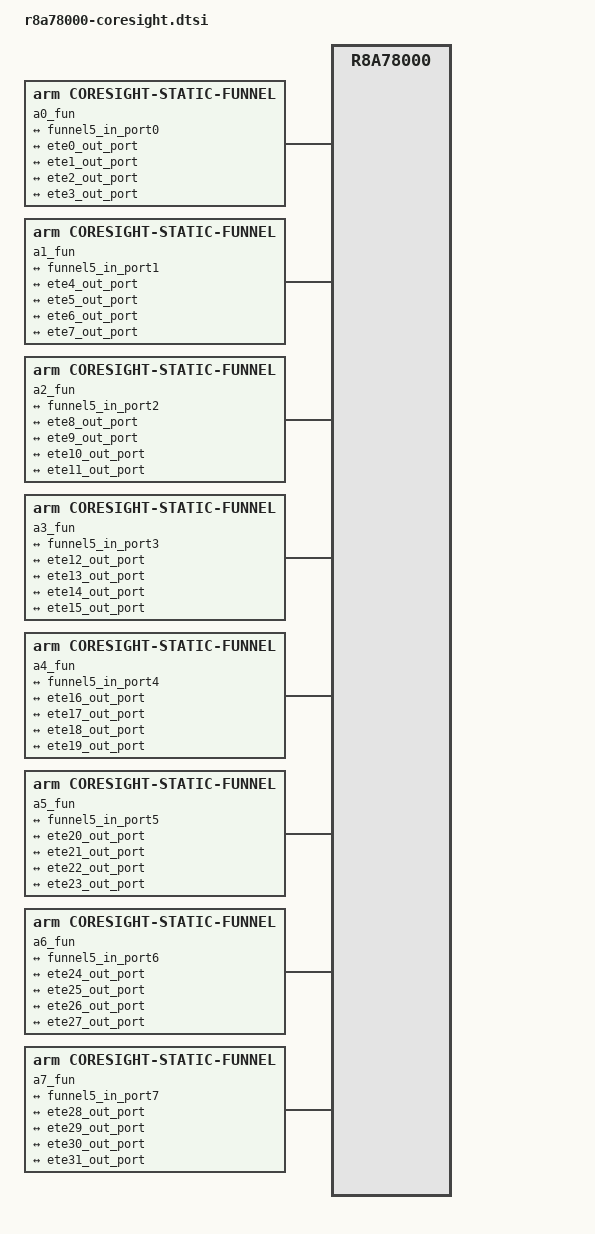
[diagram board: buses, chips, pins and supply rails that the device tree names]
// SPDX-License-Identifier: (GPL-2.0-only OR BSD-2-Clause)
/*
 * Device Tree Source fragment for Coresight support on the R-Car X5H
 * (R8A78000) SoC
 *
 * Copyright (C) 2025 Renesas Electronics Corp.
 */

#include <dt-bindings/arm/coresight-cti-dt.h>
#include "r8a78000.dtsi"

/ {
	compatible = "renesas,r8a78000", "renesas,r8a78000-coresight";

	/* APB clock */
	apb_pclk: apb-pclk {
		compatible = "fixed-clock";
		#clock-cells = <0>;
		clock-frequency = <0>;
		clock-output-names = "apb_pclk";
	};

	reserved-memory {
		#address-cells = <2>;
		#size-cells = <2>;
		ranges;

		etr1_trace_mem_reserved: etr1_t@1e00000000 {
			no-map;
			reg = <0x1e 0x0 0x0 0x2000000>;
		};

		etr1_mdata_mem_reserved: etr1_m@1e02000000 {
			no-map;
			reg = <0x1e 0x2000000 0x0 0x2000000>;
		};
	};

	soc: soc {
		csd_rep2: replicator {
			compatible = "arm,coresight-static-replicator";
			status = "disabled";

			in-ports {
				port {
					replicator2_in_port: endpoint {
						remote-endpoint = <&funnel2_out_port0>;
					};
				};
			};

			out-ports {
				#address-cells = <1>;
				#size-cells = <0>;

				port@1 {
					reg = <1>;
					replicator2_out_port1: endpoint {
						remote-endpoint = <&funnel1_in_port0>;
					};
				};
			};
		};

		csd_fun1: funnel@28070000 {
			compatible = "arm,coresight-dynamic-funnel", "arm,primecell";
			reg = <0x0 0x28070000 0x0 0x1000>;

			clocks = <&apb_pclk>;
			clock-names = "apb_pclk";

			status = "disabled";

			out-ports {
				port {
					funnel1_out_port: endpoint {
						remote-endpoint = <&etf1_in_port>;
					};
				};
			};

			in-ports {
				#address-cells = <1>;
				#size-cells = <0>;

				port@0 {
					reg = <0>;
					funnel1_in_port0: endpoint {
						remote-endpoint = <&replicator2_out_port1>;
					};
				};
			};
		};

		csd_fun2: funnel@28080000 {
			compatible = "arm,coresight-dynamic-funnel", "arm,primecell";
			reg = <0x0 0x28080000 0x0 0x1000>;

			clocks = <&apb_pclk>;
			clock-names = "apb_pclk";

			status = "disabled";

			out-ports {
				port {
					funnel2_out_port0: endpoint {
						remote-endpoint = <&replicator2_in_port>;
					};
				};
			};

			in-ports {
				#address-cells = <1>;
				#size-cells = <0>;

				port@3 {
					reg = <3>;
					funnel2_in_port3: endpoint {
						remote-endpoint = <&funnel5_out_port>;
					};
				};

				port@5 {
					reg = <5>;
					funnel2_in_port5: endpoint {
						remote-endpoint = <&stm0_out_port>;
					};
				};
			};
		};

		csd_fun5: funnel@280b0000 {
			compatible = "arm,coresight-dynamic-funnel", "arm,primecell";
			reg = <0x0 0x280b0000 0x0 0x1000>;

			clocks = <&apb_pclk>;
			clock-names = "apb_pclk";

			status = "disabled";

			out-ports {
				port {
					funnel5_out_port: endpoint {
						remote-endpoint = <&funnel2_in_port3>;
					};
				};
			};

			in-ports {
				#address-cells = <1>;
				#size-cells = <0>;

				port@0 {
					reg = <0>;
					funnel5_in_port0: endpoint {
						remote-endpoint = <&a0_funnel_out>;
					};
				};

				port@1 {
					reg = <1>;
					funnel5_in_port1: endpoint {
						remote-endpoint = <&a1_funnel_out>;
					};
				};

				port@2 {
					reg = <2>;
					funnel5_in_port2: endpoint {
						remote-endpoint = <&a2_funnel_out>;
					};
				};

				port@3 {
					reg = <3>;
					funnel5_in_port3: endpoint {
						remote-endpoint = <&a3_funnel_out>;
					};
				};

				port@4 {
					reg = <4>;
					funnel5_in_port4: endpoint {
						remote-endpoint = <&a4_funnel_out>;
					};
				};

				port@5 {
					reg = <5>;
					funnel5_in_port5: endpoint {
						remote-endpoint = <&a5_funnel_out>;
					};
				};

				port@6 {
					reg = <6>;
					funnel5_in_port6: endpoint {
						remote-endpoint = <&a6_funnel_out>;
					};
				};

				port@7 {
					reg = <7>;
					funnel5_in_port7: endpoint {
						remote-endpoint = <&a7_funnel_out>;
					};
				};
			};
		};

		a0_fun: funnel0 {
			compatible = "arm,coresight-static-funnel";

			out-ports {
				port {
					a0_funnel_out: endpoint {
						remote-endpoint = <&funnel5_in_port0>;
					};
				};
			};

			in-ports {
				#address-cells = <1>;
				#size-cells = <0>;

				port@0 {
					reg = <0>;
					a0_funnel_in0: endpoint {
						remote-endpoint = <&ete0_out_port>;
					};
				};

				port@1 {
					reg = <1>;
					a0_funnel_in1: endpoint {
						remote-endpoint = <&ete1_out_port>;
					};
				};

				port@2 {
					reg = <2>;
					a0_funnel_in2: endpoint {
						remote-endpoint = <&ete2_out_port>;
					};
				};

				port@3 {
					reg = <3>;
					a0_funnel_in3: endpoint {
						remote-endpoint = <&ete3_out_port>;
					};
				};
			};
		};

		a1_fun: funnel1 {
			compatible = "arm,coresight-static-funnel";

			out-ports {
				port {
					a1_funnel_out: endpoint {
						remote-endpoint = <&funnel5_in_port1>;
					};
				};
			};

			in-ports {
				#address-cells = <1>;
				#size-cells = <0>;

				port@0 {
					reg = <0>;
					a1_funnel_in0: endpoint {
						remote-endpoint = <&ete4_out_port>;
					};
				};

				port@1 {
					reg = <1>;
					a1_funnel_in1: endpoint {
						remote-endpoint = <&ete5_out_port>;
					};
				};

				port@2 {
					reg = <2>;
					a1_funnel_in2: endpoint {
						remote-endpoint = <&ete6_out_port>;
					};
				};

				port@3 {
					reg = <3>;
					a1_funnel_in3: endpoint {
						remote-endpoint = <&ete7_out_port>;
					};
				};
			};
		};

		a2_fun: funnel2 {
			compatible = "arm,coresight-static-funnel";

			out-ports {
				port {
					a2_funnel_out: endpoint {
						remote-endpoint = <&funnel5_in_port2>;
					};
				};
			};

			in-ports {
				#address-cells = <1>;
				#size-cells = <0>;

				port@0 {
					reg = <0>;
					a2_funnel_in0: endpoint {
						remote-endpoint = <&ete8_out_port>;
					};
				};

				port@1 {
					reg = <1>;
					a2_funnel_in1: endpoint {
						remote-endpoint = <&ete9_out_port>;
					};
				};

				port@2 {
					reg = <2>;
					a2_funnel_in2: endpoint {
						remote-endpoint = <&ete10_out_port>;
					};
				};

				port@3 {
					reg = <3>;
					a2_funnel_in3: endpoint {
						remote-endpoint = <&ete11_out_port>;
					};
				};
			};
		};

		a3_fun: funnel3 {
			compatible = "arm,coresight-static-funnel";

			out-ports {
				port {
					a3_funnel_out: endpoint {
						remote-endpoint = <&funnel5_in_port3>;
					};
				};
			};

			in-ports {
				#address-cells = <1>;
				#size-cells = <0>;

				port@0 {
					reg = <0>;
					a3_funnel_in0: endpoint {
						remote-endpoint = <&ete12_out_port>;
					};
				};

				port@1 {
					reg = <1>;
					a3_funnel_in1: endpoint {
						remote-endpoint = <&ete13_out_port>;
					};
				};

				port@2 {
					reg = <2>;
					a3_funnel_in2: endpoint {
						remote-endpoint = <&ete14_out_port>;
					};
				};

				port@3 {
					reg = <3>;
					a3_funnel_in3: endpoint {
						remote-endpoint = <&ete15_out_port>;
					};
				};
			};
		};

		a4_fun: funnel4 {
			compatible = "arm,coresight-static-funnel";

			out-ports {
				port {
					a4_funnel_out: endpoint {
						remote-endpoint = <&funnel5_in_port4>;
					};
				};
			};

			in-ports {
				#address-cells = <1>;
				#size-cells = <0>;

				port@0 {
					reg = <0>;
					a4_funnel_in0: endpoint {
						remote-endpoint = <&ete16_out_port>;
					};
				};

				port@1 {
					reg = <1>;
					a4_funnel_in1: endpoint {
						remote-endpoint = <&ete17_out_port>;
					};
				};

				port@2 {
					reg = <2>;
					a4_funnel_in2: endpoint {
						remote-endpoint = <&ete18_out_port>;
					};
				};

				port@3 {
					reg = <3>;
					a4_funnel_in3: endpoint {
						remote-endpoint = <&ete19_out_port>;
					};
				};
			};
		};

		a5_fun: funnel5 {
			compatible = "arm,coresight-static-funnel";

			out-ports {
				port {
					a5_funnel_out: endpoint {
						remote-endpoint = <&funnel5_in_port5>;
					};
				};
			};

			in-ports {
				#address-cells = <1>;
				#size-cells = <0>;

				port@0 {
					reg = <0>;
					a5_funnel_in0: endpoint {
						remote-endpoint = <&ete20_out_port>;
					};
				};

				port@1 {
					reg = <1>;
					a5_funnel_in1: endpoint {
						remote-endpoint = <&ete21_out_port>;
					};
				};

				port@2 {
					reg = <2>;
					a5_funnel_in2: endpoint {
						remote-endpoint = <&ete22_out_port>;
					};
				};

				port@3 {
					reg = <3>;
					a5_funnel_in3: endpoint {
						remote-endpoint = <&ete23_out_port>;
					};
				};
			};
		};

		a6_fun: funnel6 {
			compatible = "arm,coresight-static-funnel";

			out-ports {
				port {
					a6_funnel_out: endpoint {
						remote-endpoint = <&funnel5_in_port6>;
					};
				};
			};

			in-ports {
				#address-cells = <1>;
				#size-cells = <0>;

				port@0 {
					reg = <0>;
					a6_funnel_in0: endpoint {
						remote-endpoint = <&ete24_out_port>;
					};
				};

				port@1 {
					reg = <1>;
					a6_funnel_in1: endpoint {
						remote-endpoint = <&ete25_out_port>;
					};
				};

				port@2 {
					reg = <2>;
					a6_funnel_in2: endpoint {
						remote-endpoint = <&ete26_out_port>;
					};
				};

				port@3 {
					reg = <3>;
					a6_funnel_in3: endpoint {
						remote-endpoint = <&ete27_out_port>;
					};
				};
			};
		};

		a7_fun: funnel7 {
			compatible = "arm,coresight-static-funnel";

			out-ports {
				port {
					a7_funnel_out: endpoint {
						remote-endpoint = <&funnel5_in_port7>;
					};
				};
			};

			in-ports {
				#address-cells = <1>;
				#size-cells = <0>;

				port@0 {
					reg = <0>;
					a7_funnel_in0: endpoint {
						remote-endpoint = <&ete28_out_port>;
					};
				};

				port@1 {
					reg = <1>;
					a7_funnel_in1: endpoint {
						remote-endpoint = <&ete29_out_port>;
					};
				};

				port@2 {
					reg = <2>;
					a7_funnel_in2: endpoint {
						remote-endpoint = <&ete30_out_port>;
					};
				};

				port@3 {
					reg = <3>;
					a7_funnel_in3: endpoint {
						remote-endpoint = <&ete31_out_port>;
					};
				};
			};
		};

		csd_stm0: stm@28010000 {
			compatible = "arm,coresight-stm", "arm,primecell";
			reg = <0x0 0x28010000 0x0 0x1000>,
			      <0x0 0x24000000 0x0 0x100000>;
			reg-names = "stm-base", "stm-stimulus-base";

			clocks = <&apb_pclk>;
			clock-names = "apb_pclk";

			status = "disabled";

			out-ports {
				port {
					stm0_out_port: endpoint {
						remote-endpoint = <&funnel2_in_port5>;
					};
				};
			};
		};

		csd_tpi1: tpiu@280e0000 {
			compatible = "arm,coresight-tpiu", "arm,primecell";
			reg = <0x0 0x280e0000 0x0 0x1000>;

			clocks = <&apb_pclk>;
			clock-names = "apb_pclk";

			status = "disabled";

			in-ports {
				port {
					tpi1_in_port: endpoint {
						remote-endpoint = <&rep1_out_port1>;
					};
				};
			};
		};

		csd_etf1: etf@28100000 {
			compatible = "arm,coresight-tmc", "arm,primecell";
			reg = <0x0 0x28100000 0x0 0x1000>;

			clocks = <&apb_pclk>;
			clock-names = "apb_pclk";

			status = "disabled";

			in-ports {
				port {
					etf1_in_port: endpoint {
						remote-endpoint = <&funnel1_out_port>;
					};
				};
			};

			out-ports {
				port {
					etf1_out_port: endpoint {
						remote-endpoint = <&rep1_in_port>;
					};
				};
			};
		};

		csd_rep1: replicator@281a0000 {
			compatible = "arm,coresight-dynamic-replicator", "arm,primecell";
			reg = <0x0 0x281a0000 0x0 0x1000>;

			clocks = <&apb_pclk>;
			clock-names = "apb_pclk";

			status = "disabled";

			in-ports {
				port@0 {
					rep1_in_port: endpoint {
						remote-endpoint = <&etf1_out_port>;
					};
				};
			};

			out-ports {
				#address-cells = <1>;
				#size-cells = <0>;

				port@0 {
					reg = <0>;
					rep1_out_port0: endpoint {
						remote-endpoint = <&etr1_in_port>;
					};
				};

				port@1 {
					reg = <1>;
					rep1_out_port1: endpoint {
						remote-endpoint = <&tpi1_in_port>;
					};
				};
			};
		};

		csd_etr1: etr1@28120000 {
			compatible = "arm,coresight-tmc", "arm,primecell";
			reg = <0x0 0x28120000 0x0 0x1000>;

			memory-region = <&etr1_trace_mem_reserved>,
					<&etr1_mdata_mem_reserved>;
			memory-region-names = "tracedata", "metadata";

			clocks = <&apb_pclk>;
			clock-names = "apb_pclk";

			status = "disabled";

			in-ports {
				port {
					etr1_in_port: endpoint {
						remote-endpoint = <&rep1_out_port0>;
					};
				};
			};
		};

		csd_cti3: cti3@28160000 {
			compatible = "arm,coresight-cti", "arm,primecell";
			reg = <0x0 0x28160000 0x0 0x1000>;

			clocks = <&apb_pclk>;
			clock-names = "apb_pclk";

			arm,cti-ctm-id = <4>;
			#address-cells = <1>;
			#size-cells = <0>;

			status = "disabled";

			trig-conns@0 {
				arm,trig-in-sigs=<0 1 2 3>;
				arm,trig-in-types=<STM_TOUT_SPTE STM_TOUT_SW
						   STM_TOUT_HETE STM_ASYNCOUT>;
				arm,trig-out-sigs=<0 1>;
				arm,trig-out-types=<STM_HWEVENT STM_HWEVENT>;
				arm,cs-dev-assoc = <&csd_stm0>;
			};
		};

		/* Cluster0 - CPU0 Debug */
		a0_dbg0: debug@2a090000 {
			compatible = "arm,coresight-cpu-debug", "arm,primecell";
			reg = <0x0 0x2a090000 0x0 0x1000>;

			clocks = <&apb_pclk>;
			clock-names = "apb_pclk";

			status = "disabled";

			cpu = <&a720_0>;
		};

		/* Cluster0 -  CPU1 Debug */
		a0_dbg1: debug@2a110000 {
			compatible = "arm,coresight-cpu-debug", "arm,primecell";
			reg = <0x0 0x2a110000 0x0 0x1000>;

			clocks = <&apb_pclk>;
			clock-names = "apb_pclk";

			status = "disabled";

			cpu = <&a720_1>;
		};

		/* Cluster0 - CPU2 Debug */
		a0_dbg2: debug@2a190000 {
			compatible = "arm,coresight-cpu-debug", "arm,primecell";
			reg = <0x0 0x2a190000 0x0 0x1000>;

			clocks = <&apb_pclk>;
			clock-names = "apb_pclk";

			status = "disabled";

			cpu = <&a720_2>;
		};

		/* Cluster0 - CPU3 Debug */
		a0_dbg3: debug@2a210000 {
			compatible = "arm,coresight-cpu-debug", "arm,primecell";
			reg = <0x0 0x2a210000 0x0 0x1000>;

			clocks = <&apb_pclk>;
			clock-names = "apb_pclk";

			status = "disabled";

			cpu = <&a720_3>;
		};

		/* Cluster1 - CPU0 debug */
		a1_dbg0: debug@2a490000 {
			compatible = "arm,coresight-cpu-debug", "arm,primecell";
			reg = <0x0 0x2a490000 0x0 0x1000>;

			clocks = <&apb_pclk>;
			clock-names = "apb_pclk";

			status = "disabled";

			cpu = <&a720_4>;
		};

		/* Cluster1 - CPU1 debug */
		a1_dbg1: debug@2a510000 {
			compatible = "arm,coresight-cpu-debug", "arm,primecell";
			reg = <0x0 0x2a510000 0x0 0x1000>;

			clocks = <&apb_pclk>;
			clock-names = "apb_pclk";

			status = "disabled";

			cpu = <&a720_5>;
		};

		/* Cluster1 - CPU2 debug */
		a1_dbg2: debug@2a590000 {
			compatible = "arm,coresight-cpu-debug", "arm,primecell";
			reg = <0x0 0x2a590000 0x0 0x1000>;

			clocks = <&apb_pclk>;
			clock-names = "apb_pclk";

			status = "disabled";

			cpu = <&a720_6>;
		};

		/* Cluster1 - CPU3 debug */
		a1_dbg3: debug@2a610000 {
			compatible = "arm,coresight-cpu-debug", "arm,primecell";
			reg = <0x0 0x2a610000 0x0 0x1000>;

			clocks = <&apb_pclk>;
			clock-names = "apb_pclk";

			status = "disabled";

			cpu = <&a720_7>;
		};

		/* Cluster2 - CPU0 debug */
		a2_dbg0: debug@2a890000 {
			compatible = "arm,coresight-cpu-debug", "arm,primecell";
			reg = <0x0 0x2a890000 0x0 0x1000>;

			clocks = <&apb_pclk>;
			clock-names = "apb_pclk";

			status = "disabled";

			cpu = <&a720_8>;
		};

		/* Cluster2 - CPU1 debug */
		a2_dbg1: debug@2a910000 {
			compatible = "arm,coresight-cpu-debug", "arm,primecell";
			reg = <0x0 0x2a910000 0x0 0x1000>;

			clocks = <&apb_pclk>;
			clock-names = "apb_pclk";

			status = "disabled";

			cpu = <&a720_9>;
		};

		/* Cluster2 - CPU2 debug */
		a2_dbg2: debug@2a990000 {
			compatible = "arm,coresight-cpu-debug", "arm,primecell";
			reg = <0x0 0x2a990000 0x0 0x1000>;

			clocks = <&apb_pclk>;
			clock-names = "apb_pclk";

			status = "disabled";

			cpu = <&a720_10>;
		};

		/* Cluster2 - CPU3 debug */
		a2_dbg3: debug@2aa10000 {
			compatible = "arm,coresight-cpu-debug", "arm,primecell";
			reg = <0x0 0x2aa10000 0x0 0x1000>;

			clocks = <&apb_pclk>;
			clock-names = "apb_pclk";

			status = "disabled";

			cpu = <&a720_11>;
		};

		/* Cluster3 - CPU0 debug */
		a3_dbg0: debug@2ac90000 {
			compatible = "arm,coresight-cpu-debug", "arm,primecell";
			reg = <0x0 0x2ac90000 0x0 0x1000>;

			clocks = <&apb_pclk>;
			clock-names = "apb_pclk";

			status = "disabled";

			cpu = <&a720_12>;
		};

		/* Cluster3 - CPU1 debug */
		a3_dbg1: debug@2ad10000 {
			compatible = "arm,coresight-cpu-debug", "arm,primecell";
			reg = <0x0 0x2ad10000 0x0 0x1000>;

			clocks = <&apb_pclk>;
			clock-names = "apb_pclk";

			status = "disabled";

			cpu = <&a720_13>;
		};

		/* Cluster3 - CPU2 debug */
		a3_dbg2: debug@2ad90000 {
			compatible = "arm,coresight-cpu-debug", "arm,primecell";
			reg = <0x0 0x2ad90000 0x0 0x1000>;

			clocks = <&apb_pclk>;
			clock-names = "apb_pclk";

			status = "disabled";

			cpu = <&a720_14>;
		};

		/* Cluster3 - CPU3 debug */
		a3_dbg3: debug@2ae10000 {
			compatible = "arm,coresight-cpu-debug", "arm,primecell";
			reg = <0x0 0x2ae10000 0x0 0x1000>;

			clocks = <&apb_pclk>;
			clock-names = "apb_pclk";

			status = "disabled";

			cpu = <&a720_15>;
		};

		/* Cluster4 - CPU0 debug */
		a4_dbg0: debug@2b090000 {
			compatible = "arm,coresight-cpu-debug", "arm,primecell";
			reg = <0x0 0x2b090000 0x0 0x1000>;

			clocks = <&apb_pclk>;
			clock-names = "apb_pclk";

			status = "disabled";

			cpu = <&a720_16>;
		};

		/* Cluster4 - CPU1 debug */
		a4_dbg1: debug@2b110000 {
			compatible = "arm,coresight-cpu-debug", "arm,primecell";
			reg = <0x0 0x2b110000 0x0 0x1000>;

			clocks = <&apb_pclk>;
			clock-names = "apb_pclk";

			status = "disabled";

			cpu = <&a720_17>;
		};

		/* Cluster4 - CPU2 debug */
		a4_dbg2: debug@2b190000 {
			compatible = "arm,coresight-cpu-debug", "arm,primecell";
			reg = <0x0 0x2b190000 0x0 0x1000>;

			clocks = <&apb_pclk>;
			clock-names = "apb_pclk";

			status = "disabled";

			cpu = <&a720_18>;
		};

		/* Cluster4 - CPU3 debug */
		a4_dbg3: debug@2b210000 {
			compatible = "arm,coresight-cpu-debug", "arm,primecell";
			reg = <0x0 0x2b210000 0x0 0x1000>;

			clocks = <&apb_pclk>;
			clock-names = "apb_pclk";

			status = "disabled";

			cpu = <&a720_19>;
		};

		/* Cluster5 - CPU0 debug */
		a5_dbg0: debug@2b490000 {
			compatible = "arm,coresight-cpu-debug", "arm,primecell";
			reg = <0x0 0x2b490000 0x0 0x1000>;

			clocks = <&apb_pclk>;
			clock-names = "apb_pclk";

			status = "disabled";

			cpu = <&a720_20>;
		};

		/* Cluster5 - CPU1 debug */
		a5_dbg1: debug@2b510000 {
			compatible = "arm,coresight-cpu-debug", "arm,primecell";
			reg = <0x0 0x2b510000 0x0 0x1000>;

			clocks = <&apb_pclk>;
			clock-names = "apb_pclk";

			status = "disabled";

			cpu = <&a720_21>;
		};

		/* Cluster5 - CPU2 debug */
		a5_dbg2: debug@2b590000 {
			compatible = "arm,coresight-cpu-debug", "arm,primecell";
			reg = <0x0 0x2b590000 0x0 0x1000>;

			clocks = <&apb_pclk>;
			clock-names = "apb_pclk";

			status = "disabled";

			cpu = <&a720_22>;
		};

		/* Cluster5 - CPU3 debug */
		a5_dbg3: debug@2b610000 {
			compatible = "arm,coresight-cpu-debug", "arm,primecell";
			reg = <0x0 0x2b610000 0x0 0x1000>;

			clocks = <&apb_pclk>;
			clock-names = "apb_pclk";

			status = "disabled";

			cpu = <&a720_23>;
		};

		/* Cluster6 - CPU0 debug */
		a6_dbg0: debug@2b890000 {
			compatible = "arm,coresight-cpu-debug", "arm,primecell";
			reg = <0x0 0x2b890000 0x0 0x1000>;

			clocks = <&apb_pclk>;
			clock-names = "apb_pclk";

			status = "disabled";

			cpu = <&a720_24>;
		};

		/* Cluster6 - CPU1 debug */
		a6_dbg1: debug@2b910000 {
			compatible = "arm,coresight-cpu-debug", "arm,primecell";
			reg = <0x0 0x2b910000 0x0 0x1000>;

			clocks = <&apb_pclk>;
			clock-names = "apb_pclk";

			status = "disabled";

			cpu = <&a720_25>;
		};

		/* Cluster6 - CPU2 debug */
		a6_dbg2: debug@2b990000 {
			compatible = "arm,coresight-cpu-debug", "arm,primecell";
			reg = <0x0 0x2b990000 0x0 0x1000>;

			clocks = <&apb_pclk>;
			clock-names = "apb_pclk";

			status = "disabled";

			cpu = <&a720_26>;
		};

		/* Cluster6 - CPU3 debug */
		a6_dbg3: debug@2ba10000 {
			compatible = "arm,coresight-cpu-debug", "arm,primecell";
			reg = <0x0 0x2ba10000 0x0 0x1000>;

			clocks = <&apb_pclk>;
			clock-names = "apb_pclk";

			status = "disabled";

			cpu = <&a720_27>;
		};

		/* Cluster7 - CPU0 debug */
		a7_dbg0: debug@2bc90000 {
			compatible = "arm,coresight-cpu-debug", "arm,primecell";
			reg = <0x0 0x2bc90000 0x0 0x1000>;

			clocks = <&apb_pclk>;
			clock-names = "apb_pclk";

			status = "disabled";

			cpu = <&a720_28>;
		};

		/* Cluster7 - CPU1 debug */
		a7_dbg1: debug@2bd10000 {
			compatible = "arm,coresight-cpu-debug", "arm,primecell";
			reg = <0x0 0x2bd10000 0x0 0x1000>;

			clocks = <&apb_pclk>;
			clock-names = "apb_pclk";

			status = "disabled";

			cpu = <&a720_29>;
		};

		/* Cluster7 - CPU2 debug */
		a7_dbg2: debug@2bd90000 {
			compatible = "arm,coresight-cpu-debug", "arm,primecell";
			reg = <0x0 0x2bd90000 0x0 0x1000>;

			clocks = <&apb_pclk>;
			clock-names = "apb_pclk";

			status = "disabled";

			cpu = <&a720_30>;
		};

		/* Cluster7 - CPU3 debug */
		a7_dbg3: debug@2be10000 {
			compatible = "arm,coresight-cpu-debug", "arm,primecell";
			reg = <0x0 0x2be10000 0x0 0x1000>;

			clocks = <&apb_pclk>;
			clock-names = "apb_pclk";

			status = "disabled";

			cpu = <&a720_31>;
		};

		/* Cluster0 - CPU0 Embedded Trace Extension */
		a0_ete0: ete-0 {
			compatible = "arm,embedded-trace-extension";

			cpu = <&a720_0>;
			status = "disabled";

			out-ports {
				port {
					ete0_out_port: endpoint {
						remote-endpoint = <&a0_funnel_in0>;
					};
				};
			};
		};

		/* Cluster0 - CPU1 Embedded Trace Extension */
		a0_ete1: ete-1 {
			compatible = "arm,embedded-trace-extension";

			cpu = <&a720_1>;
			status = "disabled";

			out-ports {
				port {
					ete1_out_port: endpoint {
						remote-endpoint = <&a0_funnel_in1>;
					};
				};
			};
		};

		/* Cluster0 - CPU2 Embedded Trace Extension */
		a0_ete2: ete-2 {
			compatible = "arm,embedded-trace-extension";

			cpu = <&a720_2>;
			status = "disabled";

			out-ports {
				port {
					ete2_out_port: endpoint {
						remote-endpoint = <&a0_funnel_in2>;
					};
				};
			};
		};

		/* Cluster0 - CPU3 Embedded Trace Extension */
		a0_ete3: ete-3 {
			compatible = "arm,embedded-trace-extension";

			cpu = <&a720_3>;
			status = "disabled";

			out-ports {
				port {
					ete3_out_port: endpoint {
						remote-endpoint = <&a0_funnel_in3>;
					};
				};
			};
		};

		/* Cluster1 - CPU0 Embedded Trace Extension */
		a1_ete0: ete-4 {
			compatible = "arm,embedded-trace-extension";

			cpu = <&a720_4>;
			status = "disabled";

			out-ports {
				port {
					ete4_out_port: endpoint {
						remote-endpoint = <&a1_funnel_in0>;
					};
				};
			};
		};

		/* Cluster1 - CPU1 Embedded Trace Extension */
		a1_ete1: ete-5 {
			compatible = "arm,embedded-trace-extension";

			cpu = <&a720_5>;
			status = "disabled";

			out-ports {
				port {
					ete5_out_port: endpoint {
						remote-endpoint = <&a1_funnel_in1>;
					};
				};
			};
		};

		/* Cluster1 - CPU2 Embedded Trace Extension */
		a1_ete2: ete-6 {
			compatible = "arm,embedded-trace-extension";

			cpu = <&a720_6>;
			status = "disabled";

			out-ports {
				port {
					ete6_out_port: endpoint {
						remote-endpoint = <&a1_funnel_in2>;
					};
				};
			};
		};

		/* Cluster1 - CPU3 Embedded Trace Extension */
		a1_ete3: ete-7 {
			compatible = "arm,embedded-trace-extension";

			cpu = <&a720_7>;
			status = "disabled";

			out-ports {
				port {
					ete7_out_port: endpoint {
						remote-endpoint = <&a1_funnel_in3>;
					};
				};
			};
		};

		/* Cluster2 - CPU0 Embedded Trace Extension */
		a2_ete0: ete-8 {
			compatible = "arm,embedded-trace-extension";

			cpu = <&a720_8>;
			status = "disabled";

			out-ports {
				port {
					ete8_out_port: endpoint {
						remote-endpoint = <&a2_funnel_in0>;
					};
				};
			};
		};

		/* Cluster2 - CPU1 Embedded Trace Extension */
		a2_ete1: ete-9 {
			compatible = "arm,embedded-trace-extension";

			cpu = <&a720_9>;
			status = "disabled";

			out-ports {
				port {
					ete9_out_port: endpoint {
						remote-endpoint = <&a2_funnel_in1>;
					};
				};
			};
		};

		/* Cluster2 - CPU2 Embedded Trace Extension */
		a2_ete2: ete-10 {
			compatible = "arm,embedded-trace-extension";

			cpu = <&a720_10>;
			status = "disabled";

			out-ports {
				port {
					ete10_out_port: endpoint {
						remote-endpoint = <&a2_funnel_in2>;
					};
				};
			};
		};

		/* Cluster2 - CPU3 Embedded Trace Extension */
		a2_ete3: ete-11 {
			compatible = "arm,embedded-trace-extension";

			cpu = <&a720_11>;
			status = "disabled";

			out-ports {
				port {
					ete11_out_port: endpoint {
						remote-endpoint = <&a2_funnel_in3>;
					};
				};
			};
		};

		/* Cluster3 - CPU0 Embedded Trace Extension */
		a3_ete0: ete-12 {
			compatible = "arm,embedded-trace-extension";

			cpu = <&a720_12>;
			status = "disabled";

			out-ports {
				port {
					ete12_out_port: endpoint {
						remote-endpoint = <&a3_funnel_in0>;
					};
				};
			};
		};

		/* Cluster3 - CPU1 Embedded Trace Extension */
		a3_ete1: ete-13 {
			compatible = "arm,embedded-trace-extension";

			cpu = <&a720_13>;
			status = "disabled";

			out-ports {
				port {
					ete13_out_port: endpoint {
						remote-endpoint = <&a3_funnel_in1>;
					};
				};
			};
		};

		/* Cluster3 - CPU2 Embedded Trace Extension */
		a3_ete2: ete-14 {
			compatible = "arm,embedded-trace-extension";

			cpu = <&a720_14>;
			status = "disabled";

			out-ports {
				port {
					ete14_out_port: endpoint {
						remote-endpoint = <&a3_funnel_in2>;
					};
				};
			};
		};

		/* Cluster3 - CPU3 Embedded Trace Extension */
		a3_ete3: ete-15 {
			compatible = "arm,embedded-trace-extension";

			cpu = <&a720_15>;
			status = "disabled";

			out-ports {
				port {
					ete15_out_port: endpoint {
						remote-endpoint = <&a3_funnel_in3>;
					};
				};
			};
		};

		/* Cluster4 - CPU0 Embedded Trace Extension */
		a4_ete0: ete-16 {
			compatible = "arm,embedded-trace-extension";

			cpu = <&a720_16>;
			status = "disabled";

			out-ports {
				port {
					ete16_out_port: endpoint {
						remote-endpoint = <&a4_funnel_in0>;
					};
				};
			};
		};

		/* Cluster4 - CPU1 Embedded Trace Extension */
		a4_ete1: ete-17 {
			compatible = "arm,embedded-trace-extension";

			cpu = <&a720_17>;
			status = "disabled";

			out-ports {
				port {
					ete17_out_port: endpoint {
						remote-endpoint = <&a4_funnel_in1>;
					};
				};
			};
		};

		/* Cluster4 - CPU2 Embedded Trace Extension */
		a4_ete2: ete-18 {
			compatible = "arm,embedded-trace-extension";

			cpu = <&a720_18>;
			status = "disabled";

			out-ports {
				port {
					ete18_out_port: endpoint {
						remote-endpoint = <&a4_funnel_in2>;
					};
				};
			};
		};

		/* Cluster4 - CPU3 Embedded Trace Extension */
		a4_ete3: ete-19 {
			compatible = "arm,embedded-trace-extension";

			cpu = <&a720_19>;
			status = "disabled";

			out-ports {
				port {
					ete19_out_port: endpoint {
						remote-endpoint = <&a4_funnel_in3>;
					};
				};
			};
		};

		/* Cluster5 - CPU0 Embedded Trace Extension */
		a5_ete0: ete-20 {
			compatible = "arm,embedded-trace-extension";

			cpu = <&a720_20>;
			status = "disabled";

			out-ports {
				port {
					ete20_out_port: endpoint {
						remote-endpoint = <&a5_funnel_in0>;
					};
				};
			};
		};

		/* Cluster5 - CPU1 Embedded Trace Extension */
		a5_ete1: ete-21 {
			compatible = "arm,embedded-trace-extension";

			cpu = <&a720_21>;
			status = "disabled";

			out-ports {
				port {
					ete21_out_port: endpoint {
						remote-endpoint = <&a5_funnel_in1>;
					};
				};
			};
		};

		/* Cluster5 - CPU2 Embedded Trace Extension */
		a5_ete2: ete-22 {
			compatible = "arm,embedded-trace-extension";

			cpu = <&a720_22>;
			status = "disabled";

			out-ports {
				port {
					ete22_out_port: endpoint {
						remote-endpoint = <&a5_funnel_in2>;
					};
				};
			};
		};

		/* Cluster5 - CPU3 Embedded Trace Extension */
		a5_ete3: ete-23 {
			compatible = "arm,embedded-trace-extension";

			cpu = <&a720_23>;
			status = "disabled";

			out-ports {
				port {
					ete23_out_port: endpoint {
						remote-endpoint = <&a5_funnel_in3>;
					};
				};
			};
		};

		/* Cluster6 - CPU0 Embedded Trace Extension */
		a6_ete0: ete-24 {
			compatible = "arm,embedded-trace-extension";

			cpu = <&a720_24>;
			status = "disabled";

			out-ports {
				port {
					ete24_out_port: endpoint {
						remote-endpoint = <&a6_funnel_in0>;
					};
				};
			};
		};

		/* Cluster6 - CPU1 Embedded Trace Extension */
		a6_ete1: ete-25 {
			compatible = "arm,embedded-trace-extension";

			cpu = <&a720_25>;
			status = "disabled";

			out-ports {
				port {
					ete25_out_port: endpoint {
						remote-endpoint = <&a6_funnel_in1>;
					};
				};
			};
		};

		/* Cluster6 - CPU2 Embedded Trace Extension */
		a6_ete2: ete-26 {
			compatible = "arm,embedded-trace-extension";

			cpu = <&a720_26>;
			status = "disabled";

			out-ports {
				port {
					ete26_out_port: endpoint {
						remote-endpoint = <&a6_funnel_in2>;
					};
				};
			};
		};

		/* Cluster6 - CPU3 Embedded Trace Extension */
		a6_ete3: ete-27 {
			compatible = "arm,embedded-trace-extension";

			cpu = <&a720_27>;
			status = "disabled";

			out-ports {
				port {
					ete27_out_port: endpoint {
						remote-endpoint = <&a6_funnel_in3>;
					};
				};
			};
		};

		/* Cluster7 - CPU0 Embedded Trace Extension */
		a7_ete0: ete-28 {
			compatible = "arm,embedded-trace-extension";

			cpu = <&a720_28>;
			status = "disabled";

			out-ports {
				port {
					ete28_out_port: endpoint {
						remote-endpoint = <&a7_funnel_in0>;
					};
				};
			};
		};

		/* Cluster7 - CPU1 Embedded Trace Extension */
		a7_ete1: ete-29 {
			compatible = "arm,embedded-trace-extension";

			cpu = <&a720_29>;
			status = "disabled";

			out-ports {
				port {
					ete29_out_port: endpoint {
						remote-endpoint = <&a7_funnel_in1>;
					};
				};
			};
		};

		/* Cluster7 - CPU2 Embedded Trace Extension */
		a7_ete2: ete-30 {
			compatible = "arm,embedded-trace-extension";

			cpu = <&a720_30>;
			status = "disabled";

			out-ports {
				port {
					ete30_out_port: endpoint {
						remote-endpoint = <&a7_funnel_in2>;
					};
				};
			};
		};

		/* Cluster7 - CPU3 Embedded Trace Extension */
		a7_ete3: ete-31 {
			compatible = "arm,embedded-trace-extension";

			cpu = <&a720_31>;
			status = "disabled";

			out-ports {
				port {
					ete31_out_port: endpoint {
						remote-endpoint = <&a7_funnel_in3>;
					};
				};
			};
		};

		/* Cluster0 - CPU0 CTI */
		a0_cti0: cti@2a0f0000 {
			compatible = "arm,coresight-cti-v8-arch", "arm,primecell";
			reg = <0x0 0x2a0f0000 0x0 0x1000>;

			clocks = <&apb_pclk>;
			clock-names = "apb_pclk";

			status = "disabled";

			cpu = <&a720_0>;
			arm,cs-dev-assoc = <&a0_ete0>;
		};

		/* Cluster0 - CPU1 CTI */
		a0_cti1: cti@2a170000 {
			compatible = "arm,coresight-cti-v8-arch", "arm,primecell";
			reg = <0x0 0x2a170000 0x0 0x1000>;

			clocks = <&apb_pclk>;
			clock-names = "apb_pclk";

			status = "disabled";

			cpu = <&a720_1>;
			arm,cs-dev-assoc = <&a0_ete1>;
		};

		/* Cluster0 - CPU2 CTI */
		a0_cti2: cti@2a1f0000 {
			compatible = "arm,coresight-cti-v8-arch", "arm,primecell";
			reg = <0x0 0x2a1f0000 0x0 0x1000>;

			clocks = <&apb_pclk>;
			clock-names = "apb_pclk";

			status = "disabled";

			cpu = <&a720_2>;
			arm,cs-dev-assoc = <&a0_ete2>;
		};

		/* Cluster0 - CPU3 CTI */
		a0_cti3: cti@2a270000 {
			compatible = "arm,coresight-cti-v8-arch", "arm,primecell";
			reg = <0x0 0x2a270000 0x0 0x1000>;

			clocks = <&apb_pclk>;
			clock-names = "apb_pclk";

			status = "disabled";

			cpu = <&a720_3>;
			arm,cs-dev-assoc = <&a0_ete3>;
		};

		/* Cluster1 - CPU0 CTI */
		a1_cti0: cti@2a4f0000 {
			compatible = "arm,coresight-cti-v8-arch", "arm,primecell";
			reg = <0x0 0x2a4f0000 0x0 0x1000>;

			clocks = <&apb_pclk>;
			clock-names = "apb_pclk";

			status = "disabled";

			cpu = <&a720_4>;
			arm,cs-dev-assoc = <&a1_ete0>;
		};

		/* Cluster1 - CPU1 CTI */
		a1_cti1: cti@2a570000 {
			compatible = "arm,coresight-cti-v8-arch", "arm,primecell";
			reg = <0x0 0x2a570000 0x0 0x1000>;

			clocks = <&apb_pclk>;
			clock-names = "apb_pclk";

			status = "disabled";

			cpu = <&a720_5>;
			arm,cs-dev-assoc = <&a1_ete1>;
		};

		/* Cluster1 - CPU2 CTI */
		a1_cti2: cti@2a5f0000 {
			compatible = "arm,coresight-cti-v8-arch", "arm,primecell";
			reg = <0x0 0x2a5f0000 0x0 0x1000>;

			clocks = <&apb_pclk>;
			clock-names = "apb_pclk";

			status = "disabled";

			cpu = <&a720_6>;
			arm,cs-dev-assoc = <&a1_ete2>;
		};

		/* Cluster1 - CPU3 CTI */
		a1_cti3: cti@2a670000 {
			compatible = "arm,coresight-cti-v8-arch", "arm,primecell";
			reg = <0x0 0x2a670000 0x0 0x1000>;

			clocks = <&apb_pclk>;
			clock-names = "apb_pclk";

			status = "disabled";

			cpu = <&a720_7>;
			arm,cs-dev-assoc = <&a1_ete3>;
		};

		/* Cluster2 - CPU0 CTI */
		a2_cti0: cti@2a8f0000 {
			compatible = "arm,coresight-cti-v8-arch", "arm,primecell";
			reg = <0x0 0x2a8f0000 0x0 0x1000>;

			clocks = <&apb_pclk>;
			clock-names = "apb_pclk";

			status = "disabled";

			cpu = <&a720_8>;
			arm,cs-dev-assoc = <&a2_ete0>;
		};

		/* Cluster2 - CPU1 CTI */
		a2_cti1: cti@2a970000 {
			compatible = "arm,coresight-cti-v8-arch", "arm,primecell";
			reg = <0x0 0x2a970000 0x0 0x1000>;

			clocks = <&apb_pclk>;
			clock-names = "apb_pclk";

			status = "disabled";

			cpu = <&a720_9>;
			arm,cs-dev-assoc = <&a2_ete1>;
		};

		/* Cluster2 - CPU2 CTI */
		a2_cti2: cti@2a9f0000 {
			compatible = "arm,coresight-cti-v8-arch", "arm,primecell";
			reg = <0x0 0x2a9f0000 0x0 0x1000>;

			clocks = <&apb_pclk>;
			clock-names = "apb_pclk";

			status = "disabled";

			cpu = <&a720_10>;
			arm,cs-dev-assoc = <&a2_ete2>;
		};

		/* Cluster2 - CPU3 CTI */
		a2_cti3: cti@2aa70000 {
			compatible = "arm,coresight-cti-v8-arch", "arm,primecell";
			reg = <0x0 0x2aa70000 0x0 0x1000>;

			clocks = <&apb_pclk>;
			clock-names = "apb_pclk";

			status = "disabled";

			cpu = <&a720_11>;
			arm,cs-dev-assoc = <&a2_ete3>;
		};

		/* Cluster3 - CPU0 CTI */
		a3_cti0: cti@2acf0000 {
			compatible = "arm,coresight-cti-v8-arch", "arm,primecell";
			reg = <0x0 0x2acf0000 0x0 0x1000>;

			clocks = <&apb_pclk>;
			clock-names = "apb_pclk";

			status = "disabled";

			cpu = <&a720_12>;
			arm,cs-dev-assoc = <&a3_ete0>;
		};

		/* Cluster3 - CPU1 CTI */
		a3_cti1: cti@2ad70000 {
			compatible = "arm,coresight-cti-v8-arch", "arm,primecell";
			reg = <0x0 0x2ad70000 0x0 0x1000>;

			clocks = <&apb_pclk>;
			clock-names = "apb_pclk";

			status = "disabled";

			cpu = <&a720_13>;
			arm,cs-dev-assoc = <&a3_ete1>;
		};

		/* Cluster3 - CPU2 CTI */
		a3_cti2: cti@2adf0000 {
			compatible = "arm,coresight-cti-v8-arch", "arm,primecell";
			reg = <0x0 0x2adf0000 0x0 0x1000>;

			clocks = <&apb_pclk>;
			clock-names = "apb_pclk";

			status = "disabled";

			cpu = <&a720_14>;
			arm,cs-dev-assoc = <&a3_ete2>;
		};

		/* Cluster3 - CPU3 CTI */
		a3_cti3: cti@2ae70000 {
			compatible = "arm,coresight-cti-v8-arch", "arm,primecell";
			reg = <0x0 0x2ae70000 0x0 0x1000>;

			clocks = <&apb_pclk>;
			clock-names = "apb_pclk";

			status = "disabled";

			cpu = <&a720_15>;
			arm,cs-dev-assoc = <&a3_ete3>;
		};

		/* Cluster4 - CPU0 CTI */
		a4_cti0: cti@2b0f0000 {
			compatible = "arm,coresight-cti-v8-arch", "arm,primecell";
			reg = <0x0 0x2b0f0000 0x0 0x1000>;

			clocks = <&apb_pclk>;
			clock-names = "apb_pclk";

			status = "disabled";

			cpu = <&a720_16>;
			arm,cs-dev-assoc = <&a4_ete0>;
		};

		/* Cluster4 - CPU1 CTI */
		a4_cti1: cti@2b170000 {
			compatible = "arm,coresight-cti-v8-arch", "arm,primecell";
			reg = <0x0 0x2b170000 0x0 0x1000>;

			clocks = <&apb_pclk>;
			clock-names = "apb_pclk";

			status = "disabled";

			cpu = <&a720_17>;
			arm,cs-dev-assoc = <&a4_ete1>;
		};

		/* Cluster4 - CPU2 CTI */
		a4_cti2: cti@2b1f0000 {
			compatible = "arm,coresight-cti-v8-arch", "arm,primecell";
			reg = <0x0 0x2b1f0000 0x0 0x1000>;

			clocks = <&apb_pclk>;
			clock-names = "apb_pclk";

			status = "disabled";

			cpu = <&a720_18>;
			arm,cs-dev-assoc = <&a4_ete2>;
		};

		/* Cluster4 - CPU3 CTI */
		a4_cti3: cti@2b270000 {
			compatible = "arm,coresight-cti-v8-arch", "arm,primecell";
			reg = <0x0 0x2b270000 0x0 0x1000>;

			clocks = <&apb_pclk>;
			clock-names = "apb_pclk";

			status = "disabled";

			cpu = <&a720_19>;
			arm,cs-dev-assoc = <&a4_ete3>;
		};

		/* Cluster5 - CPU0 CTI */
		a5_cti0: cti@2b4f0000 {
			compatible = "arm,coresight-cti-v8-arch", "arm,primecell";
			reg = <0x0 0x2b4f0000 0x0 0x1000>;

			clocks = <&apb_pclk>;
			clock-names = "apb_pclk";

			status = "disabled";

			cpu = <&a720_20>;
			arm,cs-dev-assoc = <&a5_ete0>;
		};

		/* Cluster5 - CPU1 CTI */
		a5_cti1: cti@2b570000 {
			compatible = "arm,coresight-cti-v8-arch", "arm,primecell";
			reg = <0x0 0x2b570000 0x0 0x1000>;

			clocks = <&apb_pclk>;
			clock-names = "apb_pclk";

			status = "disabled";

			cpu = <&a720_21>;
			arm,cs-dev-assoc = <&a5_ete1>;
		};

		/* Cluster5 - CPU2 CTI */
		a5_cti2: cti@2b5f0000 {
			compatible = "arm,coresight-cti-v8-arch", "arm,primecell";
			reg = <0x0 0x2b5f0000 0x0 0x1000>;

			clocks = <&apb_pclk>;
			clock-names = "apb_pclk";

			status = "disabled";

			cpu = <&a720_22>;
			arm,cs-dev-assoc = <&a5_ete2>;
		};

		/* Cluster5 - CPU3 CTI */
		a5_cti3: cti@2b670000 {
			compatible = "arm,coresight-cti-v8-arch", "arm,primecell";
			reg = <0x0 0x2b670000 0x0 0x1000>;

			clocks = <&apb_pclk>;
			clock-names = "apb_pclk";

			status = "disabled";

			cpu = <&a720_23>;
			arm,cs-dev-assoc = <&a5_ete3>;
		};

		/* Cluster6 - CPU0 CTI */
		a6_cti0: cti@2b8f0000 {
			compatible = "arm,coresight-cti-v8-arch", "arm,primecell";
			reg = <0x0 0x2b8f0000 0x0 0x1000>;

			clocks = <&apb_pclk>;
			clock-names = "apb_pclk";

			status = "disabled";

			cpu = <&a720_24>;
			arm,cs-dev-assoc = <&a6_ete0>;
		};

		/* Cluster6 - CPU1 CTI */
		a6_cti1: cti@2b970000 {
			compatible = "arm,coresight-cti-v8-arch", "arm,primecell";
			reg = <0x0 0x2b970000 0x0 0x1000>;

			clocks = <&apb_pclk>;
			clock-names = "apb_pclk";

			status = "disabled";

			cpu = <&a720_25>;
			arm,cs-dev-assoc = <&a6_ete1>;
		};

		/* Cluster6 - CPU2 CTI */
		a6_cti2: cti@2b9f0000 {
			compatible = "arm,coresight-cti-v8-arch", "arm,primecell";
			reg = <0x0 0x2b9f0000 0x0 0x1000>;

			clocks = <&apb_pclk>;
			clock-names = "apb_pclk";

			status = "disabled";

			cpu = <&a720_26>;
			arm,cs-dev-assoc = <&a6_ete2>;
		};

		/* Cluster6 - CPU3 CTI */
		a6_cti3: cti@2ba70000 {
			compatible = "arm,coresight-cti-v8-arch", "arm,primecell";
			reg = <0x0 0x2ba70000 0x0 0x1000>;

			clocks = <&apb_pclk>;
			clock-names = "apb_pclk";

			status = "disabled";

			cpu = <&a720_27>;
			arm,cs-dev-assoc = <&a6_ete3>;
		};

		/* Cluster7 - CPU0 CTI */
		a7_cti0: cti@2bcf0000 {
			compatible = "arm,coresight-cti-v8-arch", "arm,primecell";
			reg = <0x0 0x2bcf0000 0x0 0x1000>;

			clocks = <&apb_pclk>;
			clock-names = "apb_pclk";

			status = "disabled";

			cpu = <&a720_28>;
			arm,cs-dev-assoc = <&a7_ete0>;
		};

		/* Cluster7 - CPU1 CTI */
		a7_cti1: cti@2bd70000 {
			compatible = "arm,coresight-cti-v8-arch", "arm,primecell";
			reg = <0x0 0x2bd70000 0x0 0x1000>;

			clocks = <&apb_pclk>;
			clock-names = "apb_pclk";

			status = "disabled";

			cpu = <&a720_29>;
			arm,cs-dev-assoc = <&a7_ete1>;
		};

		/* Cluster7 - CPU2 CTI */
		a7_cti2: cti@2bdf0000 {
			compatible = "arm,coresight-cti-v8-arch", "arm,primecell";
			reg = <0x0 0x2bdf0000 0x0 0x1000>;

			clocks = <&apb_pclk>;
			clock-names = "apb_pclk";

			status = "disabled";

			cpu = <&a720_30>;
			arm,cs-dev-assoc = <&a7_ete2>;
		};

		/* Cluster7 - CPU3 CTI */
		a7_cti3: cti@2be70000 {
			compatible = "arm,coresight-cti-v8-arch", "arm,primecell";
			reg = <0x0 0x2be70000 0x0 0x1000>;

			clocks = <&apb_pclk>;
			clock-names = "apb_pclk";

			status = "disabled";

			cpu = <&a720_31>;
			arm,cs-dev-assoc = <&a7_ete3>;
		};
	};
};
